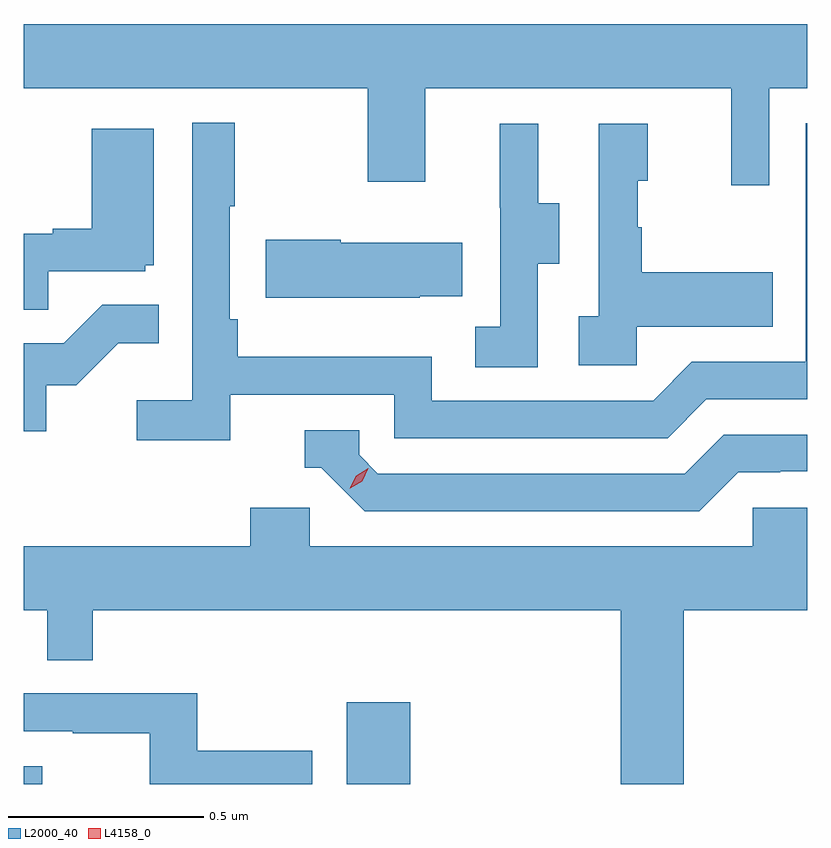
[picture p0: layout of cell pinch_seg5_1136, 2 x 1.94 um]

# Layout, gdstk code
import gdstk
lib = gdstk.Library(unit=1e-6, precision=1e-09)
def R(c, l, rs):  # rectangles x0, y0, x1, y1
    for r in rs: c.add(gdstk.rectangle(r[:2], r[2:], *l))
def P(c, l, *ps):  # polygons
    for p in ps: c.add(gdstk.Polygon(p, *l))
L2000_40 = (2000, 40)
L4158_0 = (4158, 0)

pinch_seg5_1136 = lib.new_cell('pinch_seg5_1136')
R(pinch_seg5_1136, L2000_40, [(818.96,857.649,819.008,857.694), (819.785,857.649,819.946,857.857)])
P(pinch_seg5_1136, L2000_40, [(820.863,859.424),(820.96,859.424),(820.96,859.588),(818.96,859.588),(818.96,859.424),(819.838,859.424),(819.838,859.185),(819.985,859.185),(819.985,859.424),(820.766,859.424),(820.766,859.176),(820.863,859.176)],
  [(819.488,858.642),(819.906,858.642),(819.906,858.531),(820.603,858.531),(820.702,858.63),(820.96,858.63),(820.96,859.335),(820.956,859.335),(820.956,858.726),(820.665,858.726),(820.566,858.627),(820.002,858.627),(820.002,858.739),(819.506,858.739),(819.506,858.835),(819.486,858.835),(819.486,859.123),(819.499,859.123),(819.499,859.336),(819.39,859.336),(819.39,858.628),(819.249,858.628),(819.249,858.526),(819.488,858.526)],
  [(820.524,858.815),(820.871,858.815),(820.871,858.955),(820.537,858.955),(820.537,859.07),(820.527,859.07),(820.527,859.188),(820.552,859.188),(820.552,859.333),(820.428,859.333),(820.428,858.842),(820.377,858.842),(820.377,858.717),(820.524,858.717)],
  [(820.272,858.976),(820.327,858.976),(820.327,859.131),(820.273,859.131),(820.273,859.333),(820.175,859.333),(820.175,859.119),(820.176,859.119),(820.176,858.815),(820.113,858.815),(820.113,858.712),(820.272,858.712)],
  [(819.023,858.957),(819.27,858.957),(819.27,858.972),(819.292,858.972),(819.292,859.321),(819.134,859.321),(819.134,859.066),(819.035,859.066),(819.035,859.053),(818.96,859.053),(818.96,858.859),(819.023,858.859)],
  [(819.971,858.893),(820.079,858.893),(820.079,859.03),(819.769,859.03),(819.769,859.038),(819.578,859.038),(819.578,858.89),(819.971,858.89)],
  [(819.018,858.666),(819.094,858.666),(819.201,858.773),(819.305,858.773),(819.305,858.872),(819.161,858.872),(819.063,858.774),(818.96,858.774),(818.96,858.549),(819.018,858.549)],
  [(820.783,858.444),(820.89,858.444),(820.89,858.447),(820.96,858.447),(820.96,858.54),(820.746,858.54),(820.647,858.441),(819.864,858.441),(819.816,858.489),(819.816,858.552),(819.677,858.552),(819.677,858.456),(819.72,858.456),(819.831,858.345),(820.684,858.345)],
  [(820.644,858.092),(820.96,858.092),(820.96,858.354),(820.821,858.354),(820.821,858.256),(819.69,858.256),(819.69,858.354),(819.539,858.354),(819.539,858.256),(818.96,858.256),(818.96,858.092),(819.021,858.092),(819.021,857.965),(819.137,857.965),(819.137,858.092),(820.484,858.092),(820.484,857.649),(820.644,857.649)],
  [(819.696,857.734),(819.403,857.734),(819.403,857.88),(818.96,857.88),(818.96,857.784),(819.085,857.784),(819.085,857.779),(819.282,857.779),(819.282,857.649),(819.696,857.649)])
P(pinch_seg5_1136, L4158_0, [(819.792,858.403),(819.792,858.404),(819.809,858.436),(819.84,858.455),(819.84,858.455),(819.84,858.454),(819.824,858.422),(819.793,858.403)])

lib.write_gds('pinch_seg5_1136.gds')
